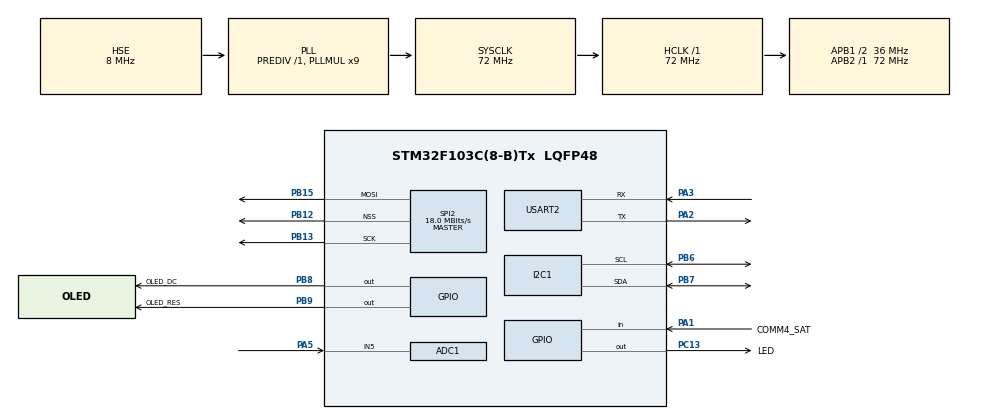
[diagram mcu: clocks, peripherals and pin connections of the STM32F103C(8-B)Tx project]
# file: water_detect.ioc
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ADC1.Channel-1\#ChannelRegularConversion=ADC_CHANNEL_5
ADC1.ContinuousConvMode=ENABLE
ADC1.NbrOfConversionFlag=1
ADC1.Rank-1\#ChannelRegularConversion=1
ADC1.SamplingTime-1\#ChannelRegularConversion=ADC_SAMPLETIME_1CYCLE_5
ADC1.master=1
Dma.ADC1.0.Direction=DMA_PERIPH_TO_MEMORY
Dma.ADC1.0.Instance=DMA1_Channel1
Dma.ADC1.0.MemDataAlignment=DMA_MDATAALIGN_HALFWORD
Dma.ADC1.0.MemInc=DMA_MINC_ENABLE
Dma.ADC1.0.Mode=DMA_CIRCULAR
Dma.ADC1.0.PeriphDataAlignment=DMA_PDATAALIGN_HALFWORD
Dma.ADC1.0.PeriphInc=DMA_PINC_DISABLE
Dma.ADC1.0.Priority=DMA_PRIORITY_LOW
Dma.Request0=ADC1
Dma.Request1=USART2_RX
Dma.USART2_RX.1.Direction=DMA_PERIPH_TO_MEMORY
Dma.USART2_RX.1.Instance=DMA1_Channel6
Dma.USART2_RX.1.MemDataAlignment=DMA_MDATAALIGN_BYTE
Dma.USART2_RX.1.MemInc=DMA_MINC_ENABLE
Dma.USART2_RX.1.Mode=DMA_CIRCULAR
Dma.USART2_RX.1.PeriphDataAlignment=DMA_PDATAALIGN_BYTE
Dma.USART2_RX.1.PeriphInc=DMA_PINC_DISABLE
Dma.USART2_RX.1.Priority=DMA_PRIORITY_LOW
Mcu.Family=STM32F1
Mcu.Name=STM32F103C(8-B)Tx
Mcu.Package=LQFP48
NVIC.DMA1_Channel1_IRQn=true\:13\:0\:true\:false\:true\:false\:true\:true
NVIC.DMA1_Channel6_IRQn=true\:0\:0\:false\:false\:true\:false\:true\:true
NVIC.PriorityGroup=NVIC_PRIORITYGROUP_4
NVIC.TIM2_IRQn=true\:14\:0\:true\:false\:true\:true\:true\:true
NVIC.USART2_IRQn=true\:12\:0\:true\:false\:true\:true\:true\:true
PA1.GPIO_Label=COMM4_SAT
PA1.Signal=GPIO_Input
PA13.Mode=Serial_Wire
PA13.Signal=SYS_JTMS-SWDIO
PA14.Mode=Serial_Wire
PA14.Signal=SYS_JTCK-SWCLK
PA2.Mode=Asynchronous
PA2.Signal=USART2_TX
PA3.Mode=Asynchronous
PA3.Signal=USART2_RX
PA5.Signal=ADCx_IN5
PB12.Mode=NSS_Signal_Hard_Output
PB12.Signal=SPI2_NSS
PB13.Mode=TX_Only_Simplex_Unidirect_Master
PB13.Signal=SPI2_SCK
PB15.Mode=TX_Only_Simplex_Unidirect_Master
PB15.Signal=SPI2_MOSI
PB6.Mode=I2C
PB6.Signal=I2C1_SCL
PB7.Mode=I2C
PB7.Signal=I2C1_SDA
PB8.GPIO_Label=OLED_DC
PB8.Signal=GPIO_Output
PB9.GPIO_Label=OLED_RES
PB9.Signal=GPIO_Output
PC13-TAMPER-RTC.GPIO_Label=LED
PC13-TAMPER-RTC.GPIO_PuPd=GPIO_PULLUP
PC13-TAMPER-RTC.PinState=GPIO_PIN_SET
PC13-TAMPER-RTC.Signal=GPIO_Output
PD0-OSC_IN.Mode=HSE-External-Oscillator
PD0-OSC_IN.Signal=RCC_OSC_IN
PD1-OSC_OUT.Mode=HSE-External-Oscillator
PD1-OSC_OUT.Signal=RCC_OSC_OUT
ProjectManager.HeapSize=0x200
ProjectManager.StackSize=0x400
ProjectManager.TargetToolchain=Makefile
RCC.ADCPresc=RCC_ADCPCLK2_DIV6
RCC.AHBFreq_Value=72000000
RCC.APB1CLKDivider=RCC_HCLK_DIV2
RCC.APB1Freq_Value=36000000
RCC.APB1TimFreq_Value=72000000
RCC.APB2Freq_Value=72000000
RCC.APB2TimFreq_Value=72000000
RCC.HCLKFreq_Value=72000000
RCC.PLLMUL=RCC_PLL_MUL9
RCC.PLLSourceVirtual=RCC_PLLSOURCE_HSE
RCC.SYSCLKFreq_VALUE=72000000
RCC.SYSCLKSource=RCC_SYSCLKSOURCE_PLLCLK
RCC.USBFreq_Value=72000000
SH.ADCx_IN5.0=ADC1_IN5,IN5
SPI2.CalculateBaudRate=18.0 MBits/s
SPI2.Direction=SPI_DIRECTION_2LINES
SPI2.Mode=SPI_MODE_MASTER
SPI2.VirtualNSS=VM_NSSHARD
SPI2.VirtualType=VM_MASTER
TIM2.Period=100-1
TIM2.Prescaler=720-1
USART2.VirtualMode=VM_ASYNC
VP_TIM2_VS_ClockSourceINT.Mode=Internal
board=custom

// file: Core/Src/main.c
/* USER CODE BEGIN Header */
/**
  ******************************************************************************
  * @file           : main.c
  * @brief          : Main program body
  ******************************************************************************
  * @attention
  *
  * Copyright (c) 2025 STMicroelectronics.
  * All rights reserved.
  *
  * This software is licensed under terms that can be found in the LICENSE file
  * in the root directory of this software component.
  * If no LICENSE file comes with this software, it is provided AS-IS.
  *
  ******************************************************************************
  */
/* USER CODE END Header */
#include "main.h"
#include "adc.h"
#include "dma.h"
#include "i2c.h"
#include "spi.h"
#include "tim.h"
#include "usart.h"
#include "gpio.h"

/* USER CODE BEGIN Includes */
#include "oled.h"
#include "rtc.h"
#include "timer.h"
#include "water.h"
#include "flash.h"
#include "4G.h"
/* USER CODE END Includes */

/* USER CODE BEGIN PV */
RTC_TimeTypeDef rtcTime;
/* USER CODE END PV */

void SystemClock_Config(void);

int main(void)
{

  /* MCU Configuration--------------------------------------------------------*/

  /* Reset of all peripherals, Initializes the Flash interface and the Systick. */
  HAL_Init();

  /* Configure the system clock */
  SystemClock_Config();

  /* Initialize all configured peripherals */
  MX_GPIO_Init();
  MX_DMA_Init();
  MX_ADC1_Init();
  MX_I2C1_Init();
  MX_SPI2_Init();
  MX_USART2_UART_Init();
  MX_TIM2_Init();
  /* USER CODE BEGIN 2 */
  OLED_Init();
  OLED_ShowString(0, 2, "Device Initializing...", 16);

  SEGGER_RTT_ConfigUpBuffer(0, NULL, NULL, 0, SEGGER_RTT_MODE_BLOCK_IF_FIFO_FULL);

  TIMER_Start(); // 初始化定时器
  G4_Init(); // 初始化4G模块
  FLASH_Init(); // 初始化Flash参数存储

  // 初始化RTC
  if (PCF8563_Init() != HAL_OK) {
    OLED_ShowString(0, 2, "RTC Init Failed!", 16);
    Error_Handler();
  }

  // 如果您希望设置初始时间，可以取消以下注释
  /*
  rtcTime.second = 0;
  rtcTime.minute = 30;
  rtcTime.hour = 10;
  rtcTime.day = 20;
  rtcTime.month = 5;
  rtcTime.year = 23;
  rtcTime.week = 6; // 星期六
  PCF8563_SetTime(&rtcTime);
  */

  G4_GetWeather(); // 获取天气数据
  G4_InitMQTT(1); // 初始化MQTT
  WATER_Init(); // 初始化水位检测

  /* USER CODE END 2 */

  /* Infinite loop */
  while (1)
  {

    /* USER CODE BEGIN 3 */

    // 如果MQTT未连接但4G已连接，尝试初始化MQTT
    if (g4_mqtt_state == MQTT_DISCONNECTED) {
        G4_InitMQTT(0);
    }
    // 定时上传数据
    else if (g4_upload_flag == 1) {
      g4_upload_flag = 0;
      G4_UploadData();
    }

     // 处理4G数据
    G4_ProcessData();

    // 水位检测ADC
    WATER_Process();

    // 1s定时器中断
    if (timer_1s_flag)
    {
        timer_1s_flag = 0;
        HAL_GPIO_TogglePin(LED_GPIO_Port, LED_Pin);

        // 如果当前是时间页面，则更新时间显示
        if (WATER_GetCurrentPage() == PAGE_TIME && !WATER_IsPageLocked())
        {
            RTC_TimeTypeDef time;
            if (PCF8563_GetTime(&time) == HAL_OK)
            {
                WATER_DisplayTimePage(&time);
            }
        }
    }
  }
  /* USER CODE END 3 */
}

void SystemClock_Config(void)
{
  RCC_OscInitTypeDef RCC_OscInitStruct = {0};
  RCC_ClkInitTypeDef RCC_ClkInitStruct = {0};
  RCC_PeriphCLKInitTypeDef PeriphClkInit = {0};

  /** Initializes the RCC Oscillators according to the specified parameters
  * in the RCC_OscInitTypeDef structure.
  */
  RCC_OscInitStruct.OscillatorType = RCC_OSCILLATORTYPE_HSE;
  RCC_OscInitStruct.HSEState = RCC_HSE_ON;
  RCC_OscInitStruct.HSEPredivValue = RCC_HSE_PREDIV_DIV1;
  RCC_OscInitStruct.HSIState = RCC_HSI_ON;
  RCC_OscInitStruct.PLL.PLLState = RCC_PLL_ON;
  RCC_OscInitStruct.PLL.PLLSource = RCC_PLLSOURCE_HSE;
  RCC_OscInitStruct.PLL.PLLMUL = RCC_PLL_MUL9;
  if (HAL_RCC_OscConfig(&RCC_OscInitStruct) != HAL_OK)
  {
    Error_Handler();
  }

  /** Initializes the CPU, AHB and APB buses clocks
  */
  RCC_ClkInitStruct.ClockType = RCC_CLOCKTYPE_HCLK|RCC_CLOCKTYPE_SYSCLK
                              |RCC_CLOCKTYPE_PCLK1|RCC_CLOCKTYPE_PCLK2;
  RCC_ClkInitStruct.SYSCLKSource = RCC_SYSCLKSOURCE_PLLCLK;
  RCC_ClkInitStruct.AHBCLKDivider = RCC_SYSCLK_DIV1;
  RCC_ClkInitStruct.APB1CLKDivider = RCC_HCLK_DIV2;
  RCC_ClkInitStruct.APB2CLKDivider = RCC_HCLK_DIV1;

  if (HAL_RCC_ClockConfig(&RCC_ClkInitStruct, FLASH_LATENCY_2) != HAL_OK)
  {
    Error_Handler();
  }
  PeriphClkInit.PeriphClockSelection = RCC_PERIPHCLK_ADC;
  PeriphClkInit.AdcClockSelection = RCC_ADCPCLK2_DIV6;
  if (HAL_RCCEx_PeriphCLKConfig(&PeriphClkInit) != HAL_OK)
  {
    Error_Handler();
  }
}

void Error_Handler(void)
{
  __disable_irq();
  while (1)
  {
  }
}
